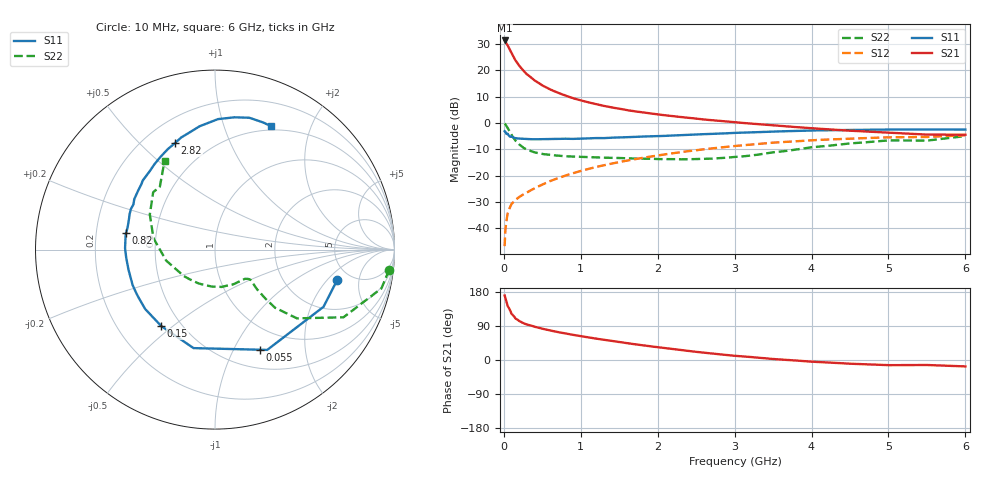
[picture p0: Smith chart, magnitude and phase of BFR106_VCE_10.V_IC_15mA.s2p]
! Infineon Technologies  Discrete & RF Semiconductors
! BFR106
! VCE =  10. V,  IC =  15 mA
! Common Emitter S-Parameters:  Nov 2015
# GHz  S  MA  R  50
!  f  S11  S21  S12  S22
! GHz  MAG  ANG  MAG  ANG  MAG  ANG  MAG  ANG
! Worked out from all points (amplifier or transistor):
!   210 points, 10 MHz to 6 GHz, reference 50 ohm
!   highest |S21| = 31.4 dB at 10 MHz (marker M1)
!   |S21| within 3 dB of that: start of sweep to 68.65 MHz
!   unconditionally stable (mu >= 1): 439.6 MHz to 2.065 GHz
!   at 185 MHz: K = 0.66, MSG = 25.4 dB, |S12| = -28.4 dB
!   at 1.52 GHz: K = 1.06, MAG = 8.5 dB, |S12| = -14.7 dB
!   at 6 GHz: K = 0.99, MSG = 0.1 dB, |S12| = -4.6 dB
!   S11 on the Smith chart (normalised r, x): 10 MHz: 3.90, -2.59; 55 MHz: 0.72, -1.28; 150 MHz: 0.39, -0.46; 820 MHz: 0.33, +0.08; 2.82 GHz: 0.32, +0.64; 6 GHz: 0.46, +1.46
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0.01  0.7019 -13.9  37.2 170.4  0.0046 84.5  0.9768 -6.6
0.02  0.6835 -27.8  35.82 162.9  0.0093 78.0  0.9524 -13.1
0.05  0.63 -62.5  29.9 142.2  0.0194 63.0  0.8089 -27.8
0.055  0.6112 -65.9  28.92 140.7  0.0204 61.8  0.7864 -28.7
0.1  0.5617 -102.3  21.29 121.9  0.0292 54.8  0.596 -40.0
0.15  0.5207 -125.1  15.62 109.8  0.0347 51.2  0.4652 -44.1
0.2  0.5108 -139.6  12.32 102.8  0.0395 52.4  0.3939 -44.2
0.24  0.503 -147.3  10.49 98.6  0.0431 53.4  0.3529 -43.8
0.26  0.5013 -150.8  9.724 96.7  0.0448 54.1  0.337 -43.6
0.3  0.4998 -156.7  8.467 93.6  0.0481 56.0  0.3142 -43.1
0.4  0.4948 -167.2  6.464 87.7  0.0579 59.2  0.2782 -41.3
0.5  0.4967 -174.7  5.208 82.4  0.0679 61.6  0.2592 -40.4
0.6  0.5011 179.1  4.382 78.0  0.0791 63.2  0.2491 -41.1
0.82  0.5041 169.4  3.256 69.3  0.1031 64.8  0.234 -44.0
1.02  0.5082 160.6  2.656 62.4  0.1258 65.1  0.2288 -48.3
1.4  0.5304 148.0  1.99 50.6  0.1702 63.4  0.2198 -59.8
2.02  0.5669 130.4  1.455 33.2  0.2458 57.8  0.2075 -85.6
2.82  0.634 110.6  1.1 14.9  0.3449 47.7  0.217 -130.0
3.1  0.6588 104.8  1.011 9.6  0.3785 43.5  0.2332 -146.1
4.1  0.7299 87.3  0.783 -5.4  0.4807 27.5  0.358 165.6
5.1  0.7581 74.2  0.649 -13.5  0.5391 12.8  0.4688 135.9
6  0.7551 65.4  0.602 -16.9  0.5876 1.6  0.5677 119.7
